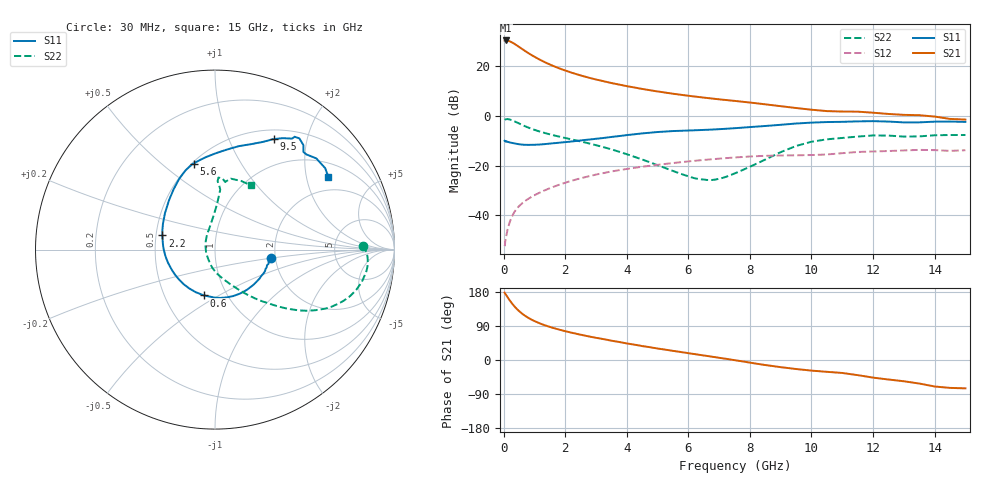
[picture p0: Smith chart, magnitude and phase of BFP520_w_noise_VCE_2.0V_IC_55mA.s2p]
! Infineon Technologies  Discrete & RF Semiconductors
! BFP520
! VCE =  2.0 V,  IC =  55 mA
! Common Emitter S-Parameters:  Oct 2015
# GHz  S  MA  R  50
!  f  S11  S21  S12  S22
! GHz  MAG  ANG  MAG  ANG  MAG  ANG  MAG  ANG
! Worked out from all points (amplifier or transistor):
!   109 points, 30 MHz to 15 GHz, reference 50 ohm
!   highest |S21| = 30.2 dB at 70 MHz (marker M1)
!   |S21| within 3 dB of that: start of sweep to 548.8 MHz
!   unconditionally stable (mu >= 1): start of sweep to 84.51 MHz; 1.169 GHz to end of sweep
!   at 450 MHz: K = 0.67, MSG = 32.5 dB, |S12| = -37.0 dB
!   at 4 GHz: K = 1.32, MAG = 13.2 dB, |S12| = -21.4 dB
!   at 15 GHz: K = 1.40, MAG = 2.4 dB, |S12| = -13.9 dB
!   lowest NFmin = 3.45 dB at 450 MHz
!   S11 on the Smith chart (normalised r, x): 30 MHz: 1.89, -0.19; 600 MHz: 0.78, -0.43; 2.2 GHz: 0.54, +0.09; 5.6 GHz: 0.51, +0.65; 9.5 GHz: 0.62, +1.48; 15 GHz: 1.45, +2.70
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0.03  0.3138 -8.3  32.26 177.6  0.0024 112.8  0.8225 1.5
0.07  0.3025 -16.6  32.43 172.6  0.0034 91.0  0.8486 -2.1
0.14  0.2961 -31.1  31.98 164.1  0.0056 83.3  0.8523 -8.0
0.2  0.2905 -42.6  31.07 157.0  0.0074 79.6  0.8373 -12.5
0.3  0.2819 -60.4  28.95 146.3  0.0103 74.9  0.796 -19.0
0.35  0.2779 -68.8  27.75 141.5  0.0117 73.3  0.7714 -21.7
0.45  0.2707 -84.0  25.27 132.8  0.0141 70.8  0.722 -26.2
0.6  0.2627 -103.3  21.86 122.2  0.0174 68.5  0.6525 -31.2
0.8  0.2596 -124.0  18.1 111.2  0.0214 66.8  0.5778 -35.9
0.9  0.2601 -132.4  16.59 106.8  0.0234 66.2  0.5473 -37.6
1.2  0.2649 -153.1  13.08 95.8  0.0291 65.2  0.4756 -41.8
1.6  0.2794 -173.6  10.04 84.8  0.037 63.8  0.4072 -46.2
2.2  0.3035 164.9  7.334 72.1  0.0492 60.5  0.335 -52.0
2.6  0.324 153.5  6.183 65.0  0.0574 57.7  0.2942 -55.8
3.5  0.3744 133.4  4.53 50.9  0.0758 50.2  0.2107 -66.2
5.1  0.4744 109.4  3.006 29.1  0.1048 36.1  0.0964 -101.2
5.6  0.4942 104.0  2.712 22.9  0.1138 31.8  0.0737 -115.7
7.6  0.5664 82.0  1.953 -1.7  0.1462 13.1  0.0734 133.4
9.5  0.6967 62.1  1.427 -23.8  0.1602 -4.9  0.2468 87.8
10.5  0.7457 56.1  1.237 -31.2  0.1666 -10.0  0.3355 85.0
13  0.734 47.8  1.04 -56.1  0.2008 -31.7  0.3806 81.3
15  0.7507 32.8  0.836 -74.8  0.2026 -48.2  0.4098 60.7
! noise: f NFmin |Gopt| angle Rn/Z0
0.45  3.45  0.22  -160  0.3
0.9  3.45  0.24  -152  0.32
1.9  3.61  0.32  -128  0.42
2.4  3.64  0.33  -125  0.4
3.5  3.7  0.31  -111  0.51
